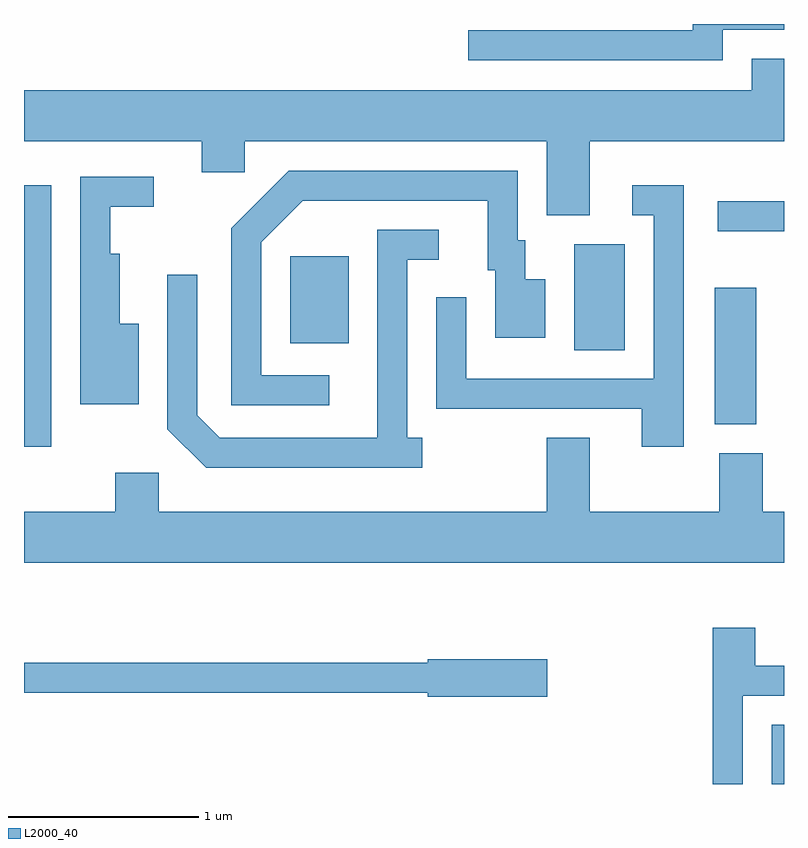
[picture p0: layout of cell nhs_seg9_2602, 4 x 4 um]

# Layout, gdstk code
import gdstk
lib = gdstk.Library(unit=1e-6, precision=1e-09)
def R(c, l, rs):  # rectangles x0, y0, x1, y1
    for r in rs: c.add(gdstk.rectangle(r[:2], r[2:], *l))
def P(c, l, *ps):  # polygons
    for p in ps: c.add(gdstk.Polygon(p, *l))
L2000_40 = (2000, 40)

nhs_seg9_2602 = lib.new_cell('nhs_seg9_2602')
R(nhs_seg9_2602, L2000_40, [(265.546,1988.432,265.611,1988.744), (261.611,1990.206,261.754,1991.584), (265.246,1990.326,265.464,1991.044), (264.506,1990.716,264.774,1991.274), (263.011,1990.751,263.319,1991.209), (265.263,1991.341,265.611,1991.499)])
P(nhs_seg9_2602, L2000_40, [(265.289,1992.401),(265.611,1992.401),(265.611,1992.432),(265.131,1992.432),(265.131,1992.399),(263.948,1992.399),(263.948,1992.241),(265.289,1992.241)],
  [(264.589,1991.816),(265.611,1991.816),(265.611,1992.249),(265.441,1992.249),(265.441,1992.084),(261.611,1992.084),(261.611,1991.816),(262.546,1991.816),(262.546,1991.651),(262.774,1991.651),(262.774,1991.816),(264.361,1991.816),(264.361,1991.426),(264.589,1991.426)],
  [(263.218,1990.584),(262.859,1990.584),(262.859,1991.284),(263.077,1991.501),(264.051,1991.501),(264.051,1991.136),(264.091,1991.136),(264.091,1990.781),(264.354,1990.781),(264.354,1991.089),(264.249,1991.089),(264.249,1991.294),(264.209,1991.294),(264.209,1991.659),(263.004,1991.659),(262.701,1991.357),(262.701,1990.426),(263.218,1990.426)],
  [(262.214,1990.854),(262.114,1990.854),(262.114,1991.224),(262.064,1991.224),(262.064,1991.471),(262.293,1991.471),(262.293,1991.629),(261.906,1991.629),(261.906,1990.431),(262.214,1990.431)],
  [(265.084,1991.584),(264.813,1991.584),(264.813,1991.426),(264.926,1991.426),(264.926,1990.564),(263.939,1990.564),(263.939,1990.993),(263.781,1990.993),(263.781,1990.406),(264.861,1990.406),(264.861,1990.206),(265.084,1990.206)],
  [(263.708,1990.254),(263.629,1990.254),(263.629,1991.191),(263.793,1991.191),(263.793,1991.349),(263.471,1991.349),(263.471,1990.254),(262.642,1990.254),(262.524,1990.372),(262.524,1991.113),(262.366,1991.113),(262.366,1990.299),(262.569,1990.096),(263.708,1990.096)],
  [(265.611,1989.864),(265.499,1989.864),(265.499,1990.174),(265.271,1990.174),(265.271,1989.864),(264.589,1989.864),(264.589,1990.254),(264.361,1990.254),(264.361,1989.864),(262.319,1989.864),(262.319,1990.069),(262.091,1990.069),(262.091,1989.864),(261.611,1989.864),(261.611,1989.596),(265.611,1989.596)],
  [(265.394,1988.896),(265.611,1988.896),(265.611,1989.054),(265.459,1989.054),(265.459,1989.254),(265.236,1989.254),(265.236,1988.432),(265.394,1988.432)],
  [(264.364,1989.089),(263.736,1989.089),(263.736,1989.069),(261.611,1989.069),(261.611,1988.911),(263.736,1988.911),(263.736,1988.891),(264.364,1988.891)])

lib.write_gds('nhs_seg9_2602.gds')
